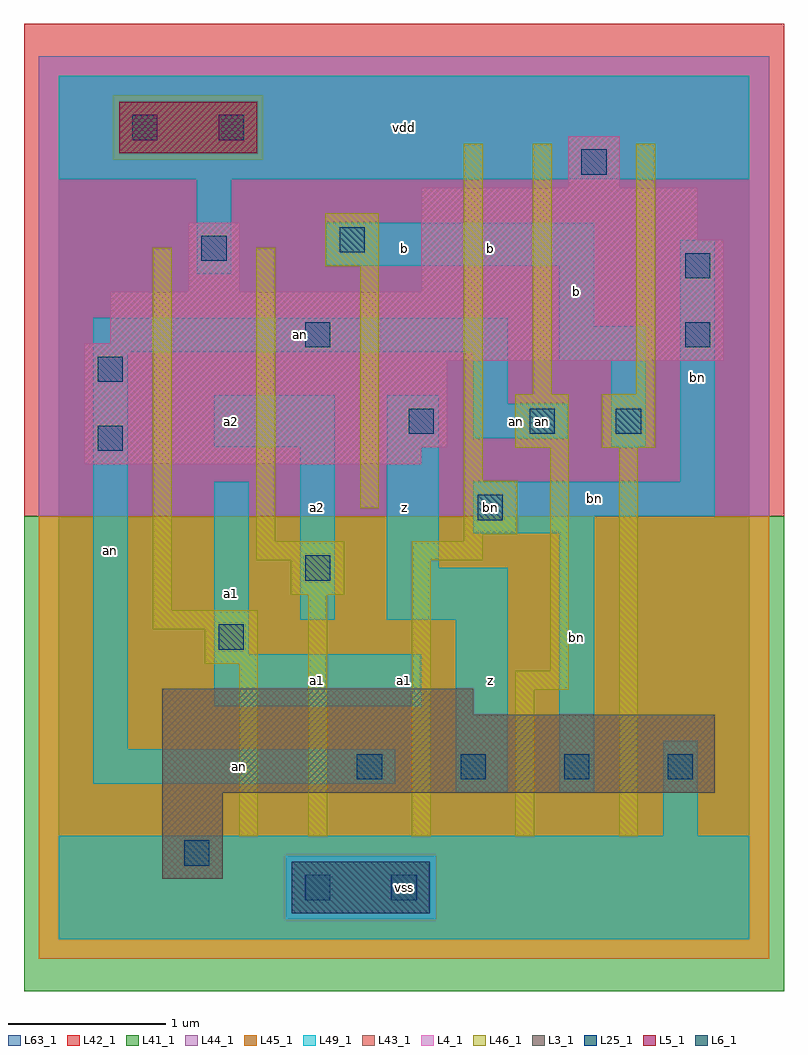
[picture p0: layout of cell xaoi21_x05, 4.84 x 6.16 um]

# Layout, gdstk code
import gdstk
lib = gdstk.Library(unit=1e-6, precision=1e-09)
def R(c, l, rs):  # rectangles x0, y0, x1, y1
    for r in rs: c.add(gdstk.rectangle(r[:2], r[2:], *l))
def A(c, l, x, y, w, h, nx, ny, dx, dy):  # array of equal rectangles
    R(c, l, [(x+i*dx, y+j*dy, x+i*dx+w, y+j*dy+h) for i in range(nx) for j in range(ny)])
L3_1 = (3, 1)
L4_1 = (4, 1)
L5_1 = (5, 1)
L6_1 = (6, 1)
L25_1 = (25, 1)
L41_1 = (41, 1)
L42_1 = (42, 1)
L43_1 = (43, 1)
L44_1 = (44, 1)
L45_1 = (45, 1)
L46_1 = (46, 1)
L49_1 = (49, 1)
L63_1 = (63, 1)

xaoi21_x05 = lib.new_cell('xaoi21_x05')
R(xaoi21_x05, L3_1, [(0.66,0.385,1.045,0.935), (0.66,0.935,4.18,1.43), (0.66,1.43,2.64,1.595)])
R(xaoi21_x05, L4_1, [(0.165,3.025,2.31,3.135), (0.165,3.135,2.475,3.685), (0.165,3.685,4.235,3.795), (0.33,3.795,4.235,4.125), (0.825,4.125,1.155,4.565), (2.31,4.125,4.235,4.455), (2.31,4.455,4.07,4.785), (3.245,4.785,3.575,5.115)])
R(xaoi21_x05, L5_1, [(0.385,5.005,1.265,5.335)])
R(xaoi21_x05, L6_1, [(1.485,0.165,2.365,0.495)])
A(xaoi21_x05, L25_1, 1.9, 1.02, 0.16, 0.16, 4, 1, 0.66, 0)
R(xaoi21_x05, L25_1, [(1.57,0.25,1.73,0.41), (2.12,0.25,2.28,0.41), (0.8,0.47,0.96,0.63), (1.02,1.845,1.18,2.005), (1.57,2.285,1.73,2.445), (2.67,2.67,2.83,2.83), (0.25,3.11,0.41,3.27), (2.23,3.22,2.39,3.38), (3,3.22,3.16,3.38), (3.55,3.22,3.71,3.38), (0.25,3.55,0.41,3.71), (1.57,3.77,1.73,3.93), (3.99,3.77,4.15,3.93), (3.99,4.21,4.15,4.37), (0.91,4.32,1.07,4.48), (1.79,4.375,1.95,4.535), (3.33,4.87,3.49,5.03), (0.47,5.09,0.63,5.25), (1.02,5.09,1.18,5.25)])
R(xaoi21_x05, L41_1, [(-0.22,-0.33,4.62,2.695)])
R(xaoi21_x05, L42_1, [(-0.22,2.695,4.62,5.83)])
R(xaoi21_x05, L43_1, [(1.485,0.165,2.365,0.495), (0.66,0.385,1.045,0.935), (0.66,0.935,4.18,1.43), (0.66,1.43,2.64,1.595), (0.165,3.025,2.31,3.135), (0.165,3.135,2.475,3.685), (0.165,3.685,4.235,3.795), (0.33,3.795,4.235,4.125), (0.825,4.125,1.155,4.565), (2.31,4.125,4.235,4.455), (2.31,4.455,4.07,4.785), (3.245,4.785,3.575,5.115), (0.385,5.005,1.265,5.335)])
R(xaoi21_x05, L44_1, [(1.445,0.125,2.405,0.535), (-0.125,2.695,4.525,4.965), (-0.125,4.965,0.345,5.375), (1.305,4.965,4.525,5.375), (-0.125,5.375,4.525,5.625)])
R(xaoi21_x05, L45_1, [(-0.125,-0.125,4.525,0.125), (-0.125,0.125,1.445,0.535), (2.405,0.125,4.525,0.535), (-0.125,0.535,4.525,2.695), (0.345,4.965,1.305,5.375)])
R(xaoi21_x05, L46_1, [(1.15,0.655,1.27,1.755), (1.59,0.655,1.71,2.195), (2.25,0.655,2.37,2.415), (2.91,0.655,3.03,1.59), (3.57,0.655,3.69,3.13), (2.91,1.59,3.25,1.71), (3.13,1.71,3.25,3.13), (0.93,1.755,1.27,1.975), (0.6,1.975,1.27,2.095), (0.6,2.095,0.72,4.405), (1.48,2.195,1.82,2.415), (1.26,2.415,1.82,2.535), (2.25,2.415,2.7,2.535), (1.26,2.535,1.38,4.405), (2.58,2.535,2.7,2.58), (2.58,2.58,2.92,2.92), (1.92,2.745,2.04,4.285), (2.58,2.92,2.7,5.065), (2.91,3.13,3.25,3.47), (3.46,3.13,3.8,3.47), (3.02,3.47,3.14,5.065), (3.68,3.47,3.8,5.065), (1.7,4.285,2.04,4.625)])
R(xaoi21_x05, L49_1, [(0,0,4.4,0.66), (3.85,0.66,4.07,1.265), (2.53,0.935,2.86,2.035), (3.19,0.935,3.41,2.585), (0.22,0.99,2.145,1.21), (0.22,1.21,0.44,3.74), (0.99,1.485,2.31,1.815), (0.99,1.815,1.21,2.915), (1.54,2.035,1.76,3.135), (2.09,2.035,2.86,2.365), (2.09,2.365,2.42,3.465), (2.64,2.585,3.41,2.695), (2.64,2.695,4.18,2.915), (3.96,2.915,4.18,4.455), (0.99,3.135,1.76,3.465), (3.52,3.135,3.74,3.685), (2.64,3.19,3.245,3.41), (2.64,3.41,2.86,3.74), (3.19,3.685,3.74,3.905), (0.22,3.74,2.86,3.96), (3.19,3.905,3.41,4.29), (0.88,4.235,1.1,4.84), (1.705,4.29,3.41,4.565), (0,4.84,4.4,5.5)])
R(xaoi21_x05, L63_1, [(0,0,4.4,5.5)])
xaoi21_x05.add(gdstk.Label('bn', (2.75,2.75), layer=49, texttype=1))
xaoi21_x05.add(gdstk.Label('an', (3.08,3.3), layer=49, texttype=1))
xaoi21_x05.add(gdstk.Label('an', (0.33,2.475), layer=49, texttype=1))
xaoi21_x05.add(gdstk.Label('a1', (1.1,2.2), layer=49, texttype=1))
xaoi21_x05.add(gdstk.Label('a1', (1.1,2.2), layer=49, texttype=1))
xaoi21_x05.add(gdstk.Label('a2', (1.1,3.3), layer=49, texttype=1))
xaoi21_x05.add(gdstk.Label('a2', (1.1,3.3), layer=49, texttype=1))
xaoi21_x05.add(gdstk.Label('vss', (2.2,0.33), layer=49, texttype=1))
xaoi21_x05.add(gdstk.Label('vss', (2.2,0.33), layer=49, texttype=1))
xaoi21_x05.add(gdstk.Label('an', (1.155,1.1), layer=49, texttype=1))
xaoi21_x05.add(gdstk.Label('a1', (1.65,1.65), layer=49, texttype=1))
xaoi21_x05.add(gdstk.Label('a1', (1.65,1.65), layer=49, texttype=1))
xaoi21_x05.add(gdstk.Label('a1', (2.2,1.65), layer=49, texttype=1))
xaoi21_x05.add(gdstk.Label('a1', (2.2,1.65), layer=49, texttype=1))
xaoi21_x05.add(gdstk.Label('a2', (1.65,2.75), layer=49, texttype=1))
xaoi21_x05.add(gdstk.Label('a2', (1.65,2.75), layer=49, texttype=1))
xaoi21_x05.add(gdstk.Label('z', (2.2,2.75), layer=49, texttype=1))
xaoi21_x05.add(gdstk.Label('z', (2.2,2.75), layer=49, texttype=1))
xaoi21_x05.add(gdstk.Label('b', (2.2,4.4), layer=49, texttype=1))
xaoi21_x05.add(gdstk.Label('b', (2.2,4.4), layer=49, texttype=1))
xaoi21_x05.add(gdstk.Label('vdd', (2.2,5.17), layer=49, texttype=1))
xaoi21_x05.add(gdstk.Label('vdd', (2.2,5.17), layer=49, texttype=1))
xaoi21_x05.add(gdstk.Label('z', (2.75,1.65), layer=49, texttype=1))
xaoi21_x05.add(gdstk.Label('z', (2.75,1.65), layer=49, texttype=1))
xaoi21_x05.add(gdstk.Label('bn', (3.3,1.925), layer=49, texttype=1))
xaoi21_x05.add(gdstk.Label('an', (2.915,3.3), layer=49, texttype=1))
xaoi21_x05.add(gdstk.Label('an', (1.54,3.85), layer=49, texttype=1))
xaoi21_x05.add(gdstk.Label('b', (3.3,4.125), layer=49, texttype=1))
xaoi21_x05.add(gdstk.Label('b', (3.3,4.125), layer=49, texttype=1))
xaoi21_x05.add(gdstk.Label('b', (2.75,4.4), layer=49, texttype=1))
xaoi21_x05.add(gdstk.Label('b', (2.75,4.4), layer=49, texttype=1))
xaoi21_x05.add(gdstk.Label('bn', (3.41,2.805), layer=49, texttype=1))
xaoi21_x05.add(gdstk.Label('bn', (4.07,3.575), layer=49, texttype=1))

lib.write_gds('xaoi21_x05.gds')
